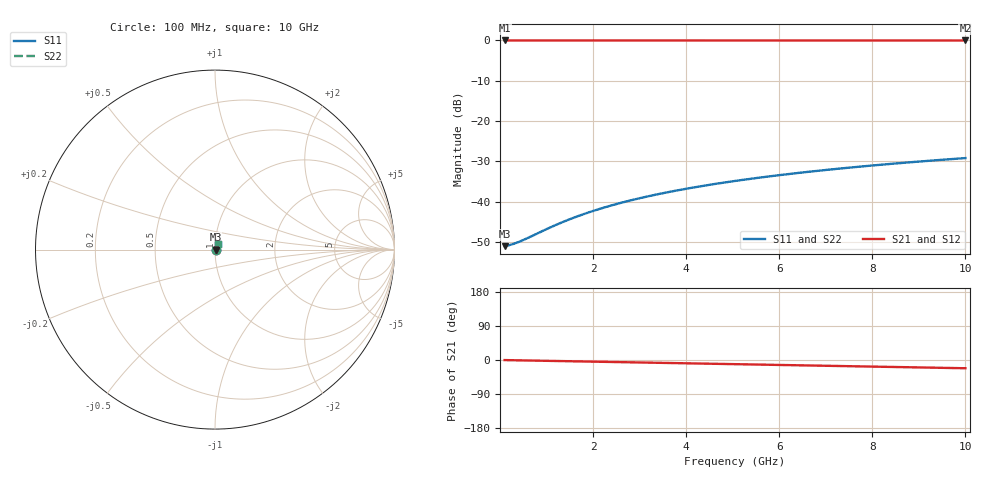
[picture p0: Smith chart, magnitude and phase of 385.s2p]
# Hz S RI R 50.00
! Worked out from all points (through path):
!   100 points, 100 MHz to 10 GHz, reference 50 ohm
!   highest |S21| = -0.02 dB at 100 MHz (marker M1); lowest = 0.0 dB at 10 GHz (marker M2)
!   group delay of S21, straight-line fit = 6.05 ps
!   lowest |S11| = -51.0 dB at 100 MHz (marker M3), VSWR 1.01, Z = 50.3 + j0.0348 ohm
!   |S11| at or under -10 dB: start of sweep to end of sweep
!   |S22| runs from -51.0 to -29.2 dB; largest |S21 - S12| = 0
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1e8  0.00279 0.000346  0.9972 -0.00378  0.9972 -0.00378  0.00279 0.000346
2e8  0.00281 0.000691  0.9972 -0.00756  0.9972 -0.00756  0.00281 0.000691
3e8  0.00283 0.00104  0.9971 -0.0113  0.9971 -0.0113  0.00283 0.00104
4e8  0.00285 0.00138  0.997 -0.0151  0.997 -0.0151  0.00285 0.00138
6e8  0.00289 0.00207  0.9969 -0.0227  0.9969 -0.0227  0.00289 0.00207
1e9  0.003 0.00345  0.9964 -0.0378  0.9964 -0.0378  0.003 0.00345
1.2e9  0.00306 0.00414  0.996 -0.0454  0.996 -0.0454  0.00306 0.00414
1.5e9  0.00318 0.00517  0.9954 -0.0567  0.9954 -0.0567  0.00318 0.00517
1.8e9  0.00332 0.00619  0.9947 -0.068  0.9947 -0.068  0.00332 0.00619
2.1e9  0.00348 0.00721  0.9938 -0.0793  0.9938 -0.0793  0.00348 0.00721
2.5e9  0.00373 0.00857  0.9925 -0.0944  0.9925 -0.0944  0.00373 0.00857
2.9e9  0.00402 0.00992  0.9909 -0.1094  0.9909 -0.1094  0.00402 0.00992
3.4e9  0.00444 0.0116  0.9886 -0.1282  0.9886 -0.1282  0.00444 0.0116
3.8e9  0.00483 0.0129  0.9865 -0.1432  0.9865 -0.1432  0.00483 0.0129
4.2e9  0.00525 0.0142  0.9842 -0.1582  0.9842 -0.1582  0.00525 0.0142
4.6e9  0.00571 0.0155  0.9816 -0.1731  0.9816 -0.1731  0.00571 0.0155
5.1e9  0.00634 0.0171  0.9781 -0.1917  0.9781 -0.1917  0.00634 0.0171
5.9e9  0.00748 0.0196  0.9717 -0.2213  0.9717 -0.2213  0.00748 0.0196
6.7e9  0.00877 0.022  0.9645 -0.2508  0.9645 -0.2508  0.00877 0.022
7.5e9  0.0102 0.0244  0.9563 -0.28  0.9563 -0.28  0.0102 0.0244
8.4e9  0.012 0.0269  0.946 -0.3125  0.946 -0.3125  0.012 0.0269
1e10  0.0156 0.0311  0.925 -0.3695  0.925 -0.3695  0.0156 0.0311
